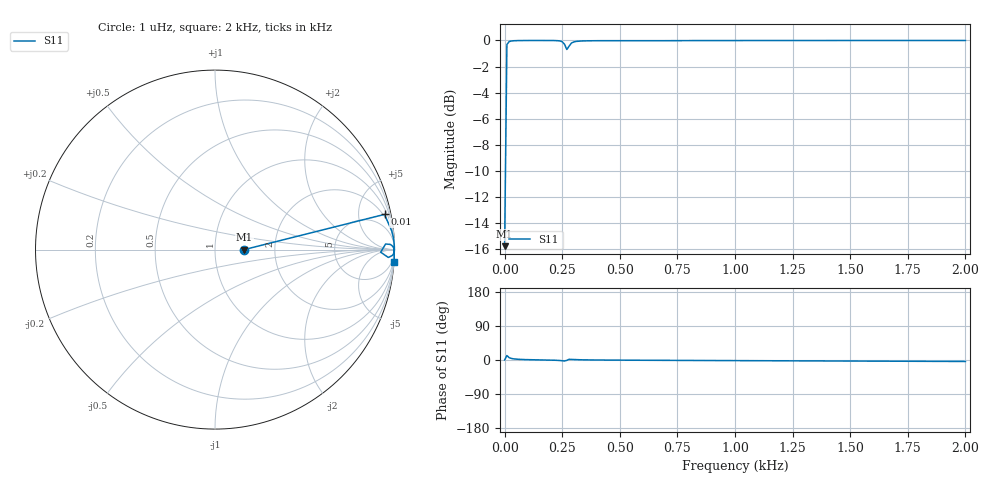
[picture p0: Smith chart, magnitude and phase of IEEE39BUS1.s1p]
! Touchstone Ver. 1.0
! Mon Dec  3 18:35:07 2012
! Number of ports is 1
# Hz	Z	RI	R	50.000000
! SCATTERING PARAMETERS  :
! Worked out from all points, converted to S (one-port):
!   201 points, 1 uHz to 2 kHz, reference 50 ohm
!   lowest |S11| = -15.8 dB at 1 uHz (marker M1), VSWR 1.39, Z = 69.4 + j0.000232 ohm
!   |S11| at or under -10 dB: start of sweep to 3.734 Hz
!   S11 on the Smith chart (normalised r, x): 1 uHz: 1.39, +0.00; 10 Hz: 1.67, +9.44; 2 kHz: 0, -29
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1e-06  1.389 4.63e-06
10  1.667 9.441
20  1.771 18.88
30  1.877 28.63
40  2.015 38.86
50  2.197 49.77
70  2.741 74.76
90  3.665 107
120  6.808 187.3
200  26.14 -346.4
230  16.26 -119.3
240  17.18 -83.3
250  18.84 -53.96
260  21.12 -28.38
270  24.08 -4.755
280  27.91 18.17
290  32.93 41.45
300  39.63 66.07
320  61.92 123.6
350  157.7 250.4
390  783.6 107.3
510  61.55 -237.9
760  10.81 -104.9
1010  2.411 -69.48
1260  0.7468 -52.08
1510  0.4133 -41.51
1760  0.2587 -34.48
2000  0.2092 -29.44
